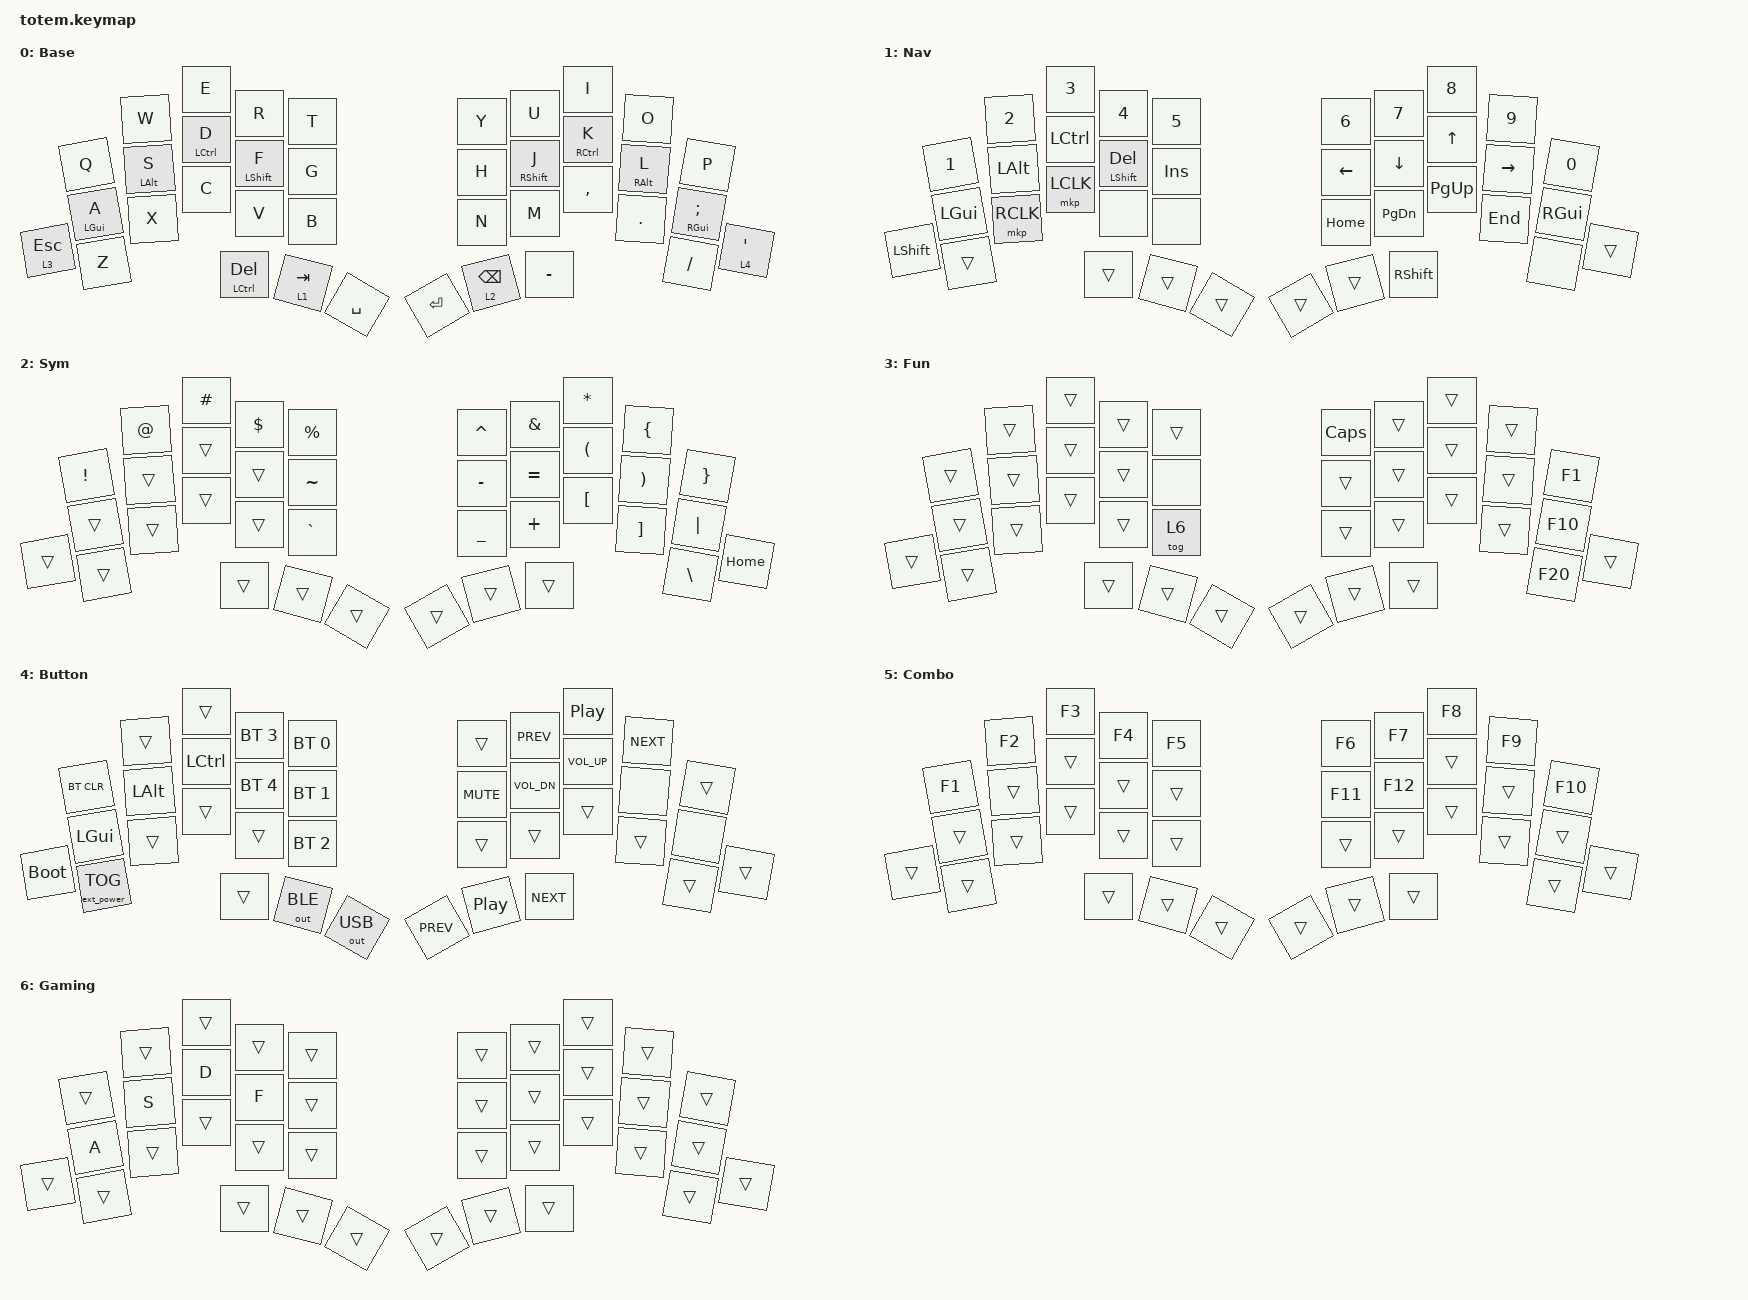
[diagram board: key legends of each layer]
//
//                                                        ▀▀▀▀▀     ▀▀▀▀▀          ▀▀█▀▀
//                                                        ▄▀▀▀▄  ▄  ▄▀▀▀▄  ▄  ▄▀▀▀▄  █  ▄▀▀▀▄
//                                                        █   █  █  █   █  █  █   █  █  █   █
//                                                         ▀▀▀   █   ▀▀▀   █   ▀▀▀   ▀   ▀▀▀
//                                                               █      ▄▄▄█▄▄▄    █   █  
//                                                               ▀      █  █  █     █▄█
//                                                             ▀▀▀▀▀    █  █  █      ▀
//                                                                      ▀  ▀  ▀
//
// ▄▄▄▄▄▄▄▄▄▄▄▄▄▄▄▄▄▄▄▄▄▄▄▄▄▄▄▄▄▄▄▄▄▄▄▄▄▄▄▄▄▄▄▄▄▄▄▄▄▄▄▄▄▄▄▄▄▄▄▄▄▄▄▄▄▄▄▄▄▄▄▄▄▄▄▄▄▄▄▄▄▄▄▄▄▄▄▄▄▄▄▄▄▄▄▄▄▄▄▄▄▄▄▄▄▄▄▄▄▄▄▄▄▄▄▄▄▄▄▄▄▄▄▄▄▄▄▄▄▄▄▄▄▄▄▄▄▄▄▄▄▄▄▄▄▄▄▄▄

// #include <behaviors/rgbled_widget.dtsi>
#include <dt-bindings/zmk/mouse.h>
#include <behaviors.dtsi>
#include <dt-bindings/zmk/bt.h>
#include <dt-bindings/zmk/ext_power.h>
#include <dt-bindings/zmk/keys.h>
#include <dt-bindings/zmk/outputs.h>
#include <dt-bindings/zmk/pointing.h>

#define Base        0
#define Media       1
#define Nav         2
#define Mouse       3
#define Sym         4
#define Num         5
#define Fun         6
#define Button      7
#define Game        8
#define Gameplus    9

&mt {
    quick-tap-ms = <100>;
    global-quick-tap;
    flavor = "tap-preferred";
    tapping-term-ms = <170>;
};

&lt {
    tapping-term-ms = <200>;
    flavor = "balanced";
    quick-tap-ms = <200>;
};

/ {
    behaviors {
        hm: homerow_mods {
            compatible = "zmk,behavior-hold-tap";
            label = "HOMEROW_MODS";
            #binding-cells = <2>;
            flavor = "tap-preferred";
            tapping-term-ms = <200>;
            quick-tap-ms = <175>;
            global-quick-tap;
            bindings = <&kp>, <&kp>;
        };

        hm_s: hm_mod_super {
            compatible = "zmk,behavior-hold-tap";
            label = "HM_MOD_SUPER";
            #binding-cells = <2>;
            flavor = "tap-preferred";
            tapping-term-ms = <300>;
            quick-tap-ms = <175>;
            global-quick-tap;
            bindings = <&kp>, <&kp>;
        };
    };

    combos { compatible = "zmk,combos"; };

    keymap {
        compatible = "zmk,keymap";

        Base {
            label = "Base";
            bindings = <
              &kp Q             &kp W       &kp E          &kp R         &kp T        &kp Y    &kp U        &kp I        &kp O       &kp P
              &hm_s LEFT_GUI A  &hm LALT S  &hm LCTRL D    &hm LSHIFT F  &kp G        &kp H    &hm RSHFT J  &hm RCTRL K  &hm RALT L  &hm_s RGUI SEMICOLON
&lt 3 ESCAPE  &kp Z             &kp X       &kp C          &kp V         &kp B        &kp N    &kp M        &kp COMMA    &kp DOT     &kp SLASH             &lt 4 APOSTROPHE
                                            &mt LCTRL DEL  &lt 1 TAB     &kp SPACE    &kp RET  &lt 2 BSPC   &kp MINUS
            >;
        };

        Num {
            label = "Nav";
            bindings = <
                &kp NUMBER_1  &kp NUMBER_2  &kp NUMBER_3  &kp NUMBER_4   &kp NUMBER_5    &kp NUMBER_6    &kp NUMBER_7    &kp NUMBER_8     &kp NUMBER_9     &kp NUMBER_0
                &kp LEFT_GUI  &kp LEFT_ALT  &kp LCTRL     &hm LSHFT DEL  &kp INSERT      &kp LEFT_ARROW  &kp DOWN_ARROW  &kp UP_ARROW     &kp RIGHT_ARROW  &kp RIGHT_GUI
&kp LEFT_SHIFT  &trans        &mkp RCLK     &mkp LCLK     &none          &none           &kp HOME        &kp PAGE_DOWN   &kp PAGE_UP      &kp END          &none          &trans
                                            &trans        &trans         &trans          &trans          &trans          &kp RIGHT_SHIFT
            >;
        };

        Sym {
            label = "Sym";
            bindings = <
        &kp EXCL  &kp AT  &kp HASH  &kp DOLLAR  &kp PERCENT    &kp CARET  &kp AMPERSAND  &kp ASTRK             &kp LEFT_BRACE         &kp RIGHT_BRACE
        &trans    &trans  &trans    &trans      &kp TILDE      &kp MINUS  &kp EQUAL      &kp LEFT_PARENTHESIS  &kp RIGHT_PARENTHESIS  &kp PIPE
&trans  &trans    &trans  &trans    &trans      &kp GRAVE      &kp UNDER  &kp PLUS       &kp LEFT_BRACKET      &kp RIGHT_BRACKET      &kp BACKSLASH    &kp HOME
                          &trans    &trans      &trans         &trans     &trans         &trans
            >;
        };

        Fun {
            label = "Fun";
            bindings = <
        &trans  &trans  &trans  &trans    &trans      &kp CAPS  &trans  &trans  &trans  &kp F1
        &trans  &trans  &trans  &trans    &none       &trans    &trans  &trans  &trans  &kp F10
&trans  &trans  &trans  &trans  &trans    &tog 6      &trans    &trans  &trans  &trans  &kp F20  &trans
                        &trans  &trans    &trans      &trans    &trans  &trans
            >;
        };

        Button {
            label = "Button";
            bindings = <
             &bt BT_CLR         &trans    &trans     &bt BT_SEL 3  &bt BT_SEL 0    &trans      &kp C_PREV        &kp C_PP      &kp C_NEXT  &trans
             &kp LGUI           &kp LALT  &kp LCTRL  &bt BT_SEL 4  &bt BT_SEL 1    &kp C_MUTE  &kp C_VOL_DN      &kp C_VOL_UP  &none       &none
&bootloader  &ext_power EP_TOG  &trans    &trans     &trans        &bt BT_SEL 2    &trans      &trans            &trans        &trans      &trans  &trans
                                          &trans     &out OUT_BLE  &out OUT_USB    &kp C_PREV  &kp C_PLAY_PAUSE  &kp C_NEXT
            >;
        };

        Combo {
            bindings = <
        &kp F1  &kp F2  &kp F3  &kp F4  &kp F5    &kp F6   &kp F7   &kp F8  &kp F9  &kp F10
        &trans  &trans  &trans  &trans  &trans    &kp F11  &kp F12  &trans  &trans  &trans
&trans  &trans  &trans  &trans  &trans  &trans    &trans   &trans   &trans  &trans  &trans   &trans
                        &trans  &trans  &trans    &trans   &trans   &trans
            >;
        };

        Gaming {
            bindings = <
        &trans  &trans  &trans  &trans  &trans    &trans  &trans  &trans  &trans  &trans
        &kp A   &kp S   &kp D   &kp F   &trans    &trans  &trans  &trans  &trans  &trans
&trans  &trans  &trans  &trans  &trans  &trans    &trans  &trans  &trans  &trans  &trans  &trans
                        &trans  &trans  &trans    &trans  &trans  &trans
            >;
        };
    };

    conditional_layers {
        compatible = "zmk,conditional-layers";

        combo_layer {
            if-layers = <1 2>;
            then-layer = <5>;
        };
    };
};
